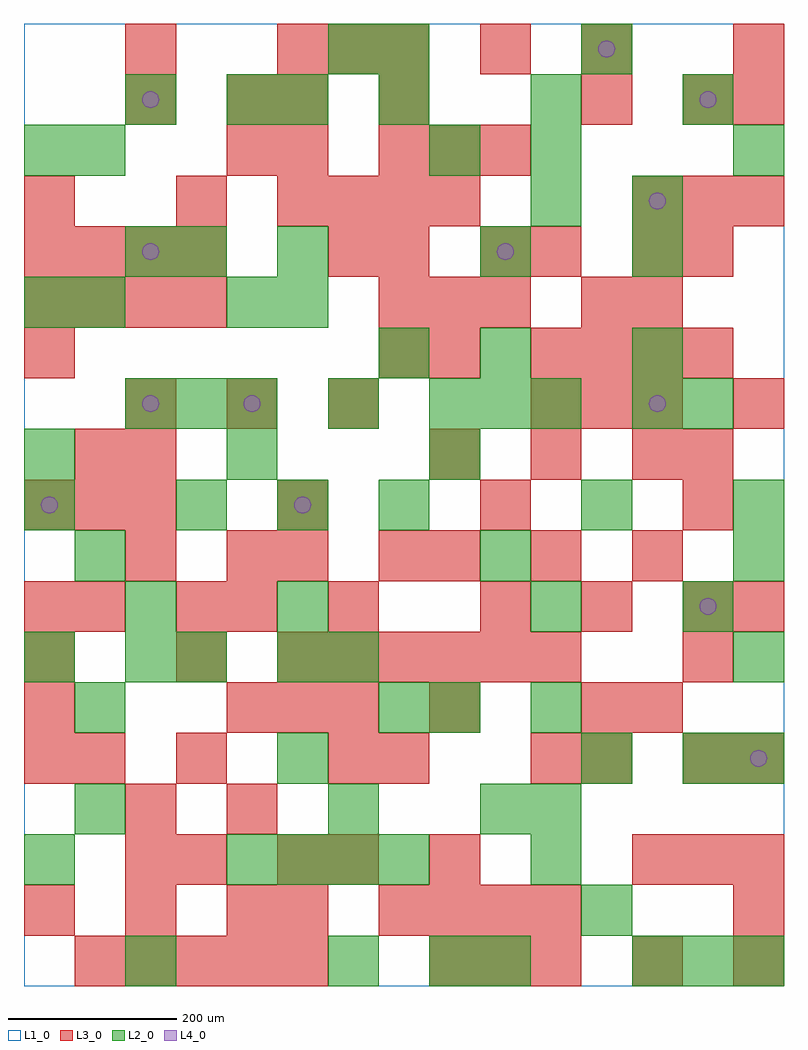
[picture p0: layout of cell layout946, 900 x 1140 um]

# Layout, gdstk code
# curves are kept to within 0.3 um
import gdstk
lib = gdstk.Library(unit=1e-6, precision=1e-09)
def R(c, l, rs):  # rectangles x0, y0, x1, y1
    for r in rs: c.add(gdstk.rectangle(r[:2], r[2:], *l))
def A(c, l, x, y, w, h, nx, ny, dx, dy):  # array of equal rectangles
    R(c, l, [(x+i*dx, y+j*dy, x+i*dx+w, y+j*dy+h) for i in range(nx) for j in range(ny)])
def P(c, l, *ps):  # polygons
    for p in ps: c.add(gdstk.Polygon(p, *l))
L1_0 = (1, 0)
L2_0 = (2, 0)
L3_0 = (3, 0)
L4_0 = (4, 0)

layout946 = lib.new_cell('layout946')
R(layout946, L1_0, [(0,0,900,1140)])
A(layout946, L2_0, 360, 0, 60, 60, 1, 3, 0, 180)
A(layout946, L2_0, 720, 0, 60, 60, 3, 1, 60, 0)
A(layout946, L2_0, 240, 120, 60, 60, 4, 1, 60, 0)
A(layout946, L2_0, 600, 180, 60, 60, 1, 3, 0, 120)
A(layout946, L2_0, 840, 240, 60, 60, 1, 3, 0, 120)
A(layout946, L2_0, 180, 540, 60, 60, 3, 1, 120, 0)
A(layout946, L2_0, 0, 600, 60, 60, 3, 1, 240, 0)
A(layout946, L2_0, 120, 660, 60, 60, 3, 1, 60, 0)
A(layout946, L2_0, 480, 660, 60, 60, 3, 1, 60, 0)
A(layout946, L2_0, 420, 1020, 60, 60, 3, 1, 180, 0)
R(layout946, L2_0, [(120,0,180,60), (480,0,540,60), (540,0,600,60), (660,60,720,120), (0,120,60,180), (600,120,660,180), (60,180,120,240), (540,180,600,240), (300,240,360,300), (660,240,720,300), (780,240,840,300), (60,300,120,360), (420,300,480,360), (480,300,540,360), (0,360,60,420), (120,360,180,420), (180,360,240,420), (300,360,360,420), (120,420,180,480), (300,420,360,480), (780,420,840,480), (60,480,120,540), (540,480,600,540), (0,540,60,600), (660,540,720,600), (840,540,900,600), (360,660,420,720), (720,660,780,720), (780,660,840,720), (420,720,480,780), (540,720,600,780), (720,720,780,780), (0,780,60,840), (60,780,120,840), (240,780,300,840), (300,780,360,840), (120,840,180,900), (180,840,240,900), (300,840,360,900), (540,840,600,900), (720,840,780,900), (600,900,660,960), (720,900,780,960), (0,960,60,1020), (60,960,120,1020), (480,960,540,1020), (600,960,660,1020), (840,960,900,1020), (120,1020,180,1080), (240,1020,300,1080), (300,1020,360,1080), (360,1080,420,1140), (420,1080,480,1140), (660,1080,720,1140)])
A(layout946, L3_0, 60, 0, 60, 60, 5, 1, 60, 0)
A(layout946, L3_0, 480, 0, 60, 60, 3, 1, 60, 0)
A(layout946, L3_0, 0, 60, 60, 60, 3, 1, 120, 0)
A(layout946, L3_0, 420, 60, 60, 60, 4, 1, 60, 0)
A(layout946, L3_0, 840, 60, 60, 60, 1, 3, 0, 180)
A(layout946, L3_0, 180, 120, 60, 60, 1, 3, 0, 120)
A(layout946, L3_0, 720, 120, 60, 60, 3, 2, 60, 780)
A(layout946, L3_0, 0, 240, 60, 60, 1, 4, 0, 60)
A(layout946, L3_0, 60, 240, 60, 60, 1, 3, 0, 180)
A(layout946, L3_0, 420, 240, 60, 60, 1, 3, 0, 240)
A(layout946, L3_0, 240, 300, 60, 60, 3, 1, 60, 0)
A(layout946, L3_0, 300, 360, 60, 60, 6, 1, 60, 0)
A(layout946, L3_0, 780, 360, 60, 60, 1, 3, 0, 240)
A(layout946, L3_0, 540, 420, 60, 60, 3, 1, 120, 0)
A(layout946, L3_0, 480, 480, 60, 60, 3, 2, 120, 120)
A(layout946, L3_0, 0, 540, 60, 60, 3, 1, 60, 0)
A(layout946, L3_0, 300, 540, 60, 60, 3, 1, 240, 0)
A(layout946, L3_0, 120, 660, 60, 60, 3, 1, 120, 0)
A(layout946, L3_0, 600, 660, 60, 60, 3, 1, 60, 0)
A(layout946, L3_0, 600, 720, 60, 60, 4, 1, 60, 0)
A(layout946, L3_0, 0, 780, 60, 60, 4, 2, 60, 60)
A(layout946, L3_0, 420, 780, 60, 60, 3, 2, 60, 180)
A(layout946, L3_0, 300, 900, 60, 60, 4, 1, 60, 0)
A(layout946, L3_0, 300, 1080, 60, 60, 3, 1, 60, 0)
R(layout946, L3_0, [(720,0,780,60), (840,0,900,60), (300,60,360,120), (120,120,180,180), (300,120,360,180), (360,120,420,180), (480,120,540,180), (120,180,180,240), (240,180,300,240), (360,240,420,300), (600,240,660,300), (660,240,720,300), (780,240,840,300), (480,300,540,360), (660,300,720,360), (720,300,780,360), (180,420,240,480), (240,420,300,480), (360,420,420,480), (120,480,180,540), (240,480,300,540), (300,480,360,540), (120,600,180,660), (840,660,900,720), (0,720,60,780), (480,720,540,780), (660,780,720,840), (720,780,780,840), (360,840,420,900), (420,840,480,900), (540,840,600,900), (600,840,660,900), (720,840,780,900), (0,900,60,960), (180,900,240,960), (240,960,300,1020), (300,960,360,1020), (120,1020,180,1080), (240,1020,300,1080), (300,1020,360,1080), (420,1020,480,1080), (660,1020,720,1080), (780,1020,840,1080), (840,1020,900,1080), (120,1080,180,1140), (540,1080,600,1140), (660,1080,720,1140), (840,1080,900,1140)])
P(layout946, L4_0, [(40,570),(39.239,573.827),(37.071,577.071),(33.827,579.239),(30,580),(26.173,579.239),(22.929,577.071),(20.761,573.827),(20,570),(20.761,566.173),(22.929,562.929),(26.173,560.761),(30,560),(33.827,560.761),(37.071,562.929),(39.239,566.173)],
  [(160,690),(159.239,693.827),(157.071,697.071),(153.827,699.239),(150,700),(146.173,699.239),(142.929,697.071),(140.761,693.827),(140,690),(140.761,686.173),(142.929,682.929),(146.173,680.761),(150,680),(153.827,680.761),(157.071,682.929),(159.239,686.173)],
  [(160,870),(159.239,873.827),(157.071,877.071),(153.827,879.239),(150,880),(146.173,879.239),(142.929,877.071),(140.761,873.827),(140,870),(140.761,866.173),(142.929,862.929),(146.173,860.761),(150,860),(153.827,860.761),(157.071,862.929),(159.239,866.173)],
  [(160,1050),(159.239,1053.827),(157.071,1057.071),(153.827,1059.239),(150,1060),(146.173,1059.239),(142.929,1057.071),(140.761,1053.827),(140,1050),(140.761,1046.173),(142.929,1042.929),(146.173,1040.761),(150,1040),(153.827,1040.761),(157.071,1042.929),(159.239,1046.173)],
  [(280,690),(279.239,693.827),(277.071,697.071),(273.827,699.239),(270,700),(266.173,699.239),(262.929,697.071),(260.761,693.827),(260,690),(260.761,686.173),(262.929,682.929),(266.173,680.761),(270,680),(273.827,680.761),(277.071,682.929),(279.239,686.173)],
  [(340,570),(339.239,573.827),(337.071,577.071),(333.827,579.239),(330,580),(326.173,579.239),(322.929,577.071),(320.761,573.827),(320,570),(320.761,566.173),(322.929,562.929),(326.173,560.761),(330,560),(333.827,560.761),(337.071,562.929),(339.239,566.173)],
  [(580,870),(579.239,873.827),(577.071,877.071),(573.827,879.239),(570,880),(566.173,879.239),(562.929,877.071),(560.761,873.827),(560,870),(560.761,866.173),(562.929,862.929),(566.173,860.761),(570,860),(573.827,860.761),(577.071,862.929),(579.239,866.173)],
  [(700,1110),(699.239,1113.827),(697.071,1117.071),(693.827,1119.239),(690,1120),(686.173,1119.239),(682.929,1117.071),(680.761,1113.827),(680,1110),(680.761,1106.173),(682.929,1102.929),(686.173,1100.761),(690,1100),(693.827,1100.761),(697.071,1102.929),(699.239,1106.173)],
  [(760,690),(759.239,693.827),(757.071,697.071),(753.827,699.239),(750,700),(746.173,699.239),(742.929,697.071),(740.761,693.827),(740,690),(740.761,686.173),(742.929,682.929),(746.173,680.761),(750,680),(753.827,680.761),(757.071,682.929),(759.239,686.173)],
  [(760,930),(759.239,933.827),(757.071,937.071),(753.827,939.239),(750,940),(746.173,939.239),(742.929,937.071),(740.761,933.827),(740,930),(740.761,926.173),(742.929,922.929),(746.173,920.761),(750,920),(753.827,920.761),(757.071,922.929),(759.239,926.173)],
  [(820,450),(819.239,453.827),(817.071,457.071),(813.827,459.239),(810,460),(806.173,459.239),(802.929,457.071),(800.761,453.827),(800,450),(800.761,446.173),(802.929,442.929),(806.173,440.761),(810,440),(813.827,440.761),(817.071,442.929),(819.239,446.173)],
  [(820,1050),(819.239,1053.827),(817.071,1057.071),(813.827,1059.239),(810,1060),(806.173,1059.239),(802.929,1057.071),(800.761,1053.827),(800,1050),(800.761,1046.173),(802.929,1042.929),(806.173,1040.761),(810,1040),(813.827,1040.761),(817.071,1042.929),(819.239,1046.173)],
  [(880,270),(879.239,273.827),(877.071,277.071),(873.827,279.239),(870,280),(866.173,279.239),(862.929,277.071),(860.761,273.827),(860,270),(860.761,266.173),(862.929,262.929),(866.173,260.761),(870,260),(873.827,260.761),(877.071,262.929),(879.239,266.173)])

lib.write_gds('layout946.gds')
